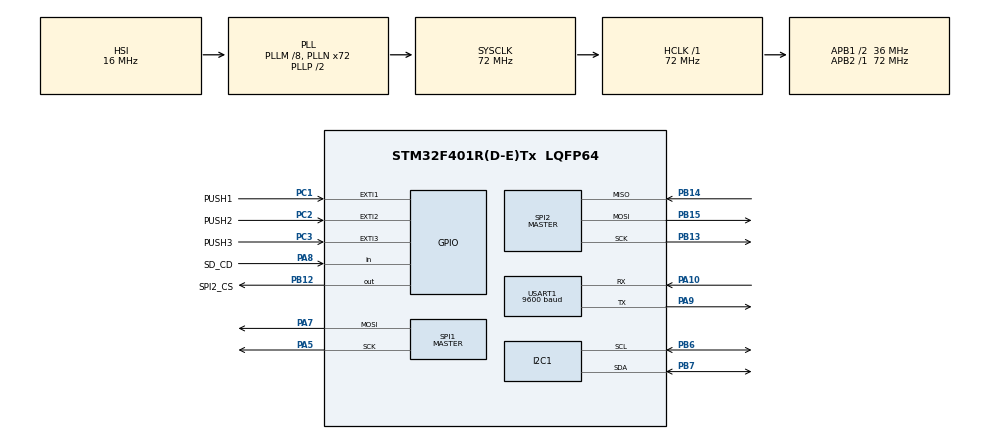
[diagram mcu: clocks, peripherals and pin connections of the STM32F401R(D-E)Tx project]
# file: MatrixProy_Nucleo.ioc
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FREERTOS.Tasks01=defaultTask,0,128,StartDefaultTask,Default,NULL,Dynamic,NULL,NULL
FREERTOS.configUSE_NEWLIB_REENTRANT=1
Mcu.Family=STM32F4
Mcu.Name=STM32F401R(D-E)Tx
Mcu.Package=LQFP64
NVIC.EXTI1_IRQn=true\:5\:0\:false\:false\:true\:true\:true\:true\:true
NVIC.EXTI2_IRQn=true\:5\:0\:false\:false\:true\:true\:true\:true\:true
NVIC.EXTI3_IRQn=true\:5\:0\:false\:false\:true\:true\:true\:true\:true
NVIC.PriorityGroup=NVIC_PRIORITYGROUP_4
NVIC.TIM1_UP_TIM10_IRQn=true\:15\:0\:false\:false\:true\:false\:false\:true\:true
NVIC.TIM2_IRQn=true\:5\:0\:false\:false\:true\:true\:true\:true\:true
NVIC.TIM4_IRQn=true\:5\:0\:true\:false\:true\:true\:true\:true\:true
NVIC.TimeBase=TIM1_UP_TIM10_IRQn
NVIC.TimeBaseIP=TIM1
NVIC.USART1_IRQn=true\:5\:0\:true\:false\:true\:true\:true\:true\:true
PA10.Mode=Asynchronous
PA10.Signal=USART1_RX
PA13.GPIO_Label=TMS
PA13.Mode=Serial_Wire
PA13.Signal=SYS_JTMS-SWDIO
PA14.GPIO_Label=TCK
PA14.Mode=Serial_Wire
PA14.Signal=SYS_JTCK-SWCLK
PA2.GPIO_Label=USART_TX
PA2.GPIO_Mode=GPIO_MODE_AF_PP
PA2.GPIO_PuPd=GPIO_NOPULL
PA2.GPIO_Speed=GPIO_SPEED_FREQ_LOW
PA2.Signal=USART2_TX
PA3.GPIO_Label=USART_RX
PA3.GPIO_Mode=GPIO_MODE_AF_PP
PA3.GPIO_PuPd=GPIO_NOPULL
PA3.GPIO_Speed=GPIO_SPEED_FREQ_LOW
PA3.Signal=USART2_RX
PA5.Mode=TX_Only_Simplex_Unidirect_Master
PA5.Signal=SPI1_SCK
PA7.Mode=TX_Only_Simplex_Unidirect_Master
PA7.Signal=SPI1_MOSI
PA8.GPIO_Label=SD_CD
PA8.Signal=GPIO_Input
PA9.Mode=Asynchronous
PA9.Signal=USART1_TX
PB12.GPIO_Label=SPI2_CS
PB12.Signal=GPIO_Output
PB13.Mode=Full_Duplex_Master
PB13.Signal=SPI2_SCK
PB14.Mode=Full_Duplex_Master
PB14.Signal=SPI2_MISO
PB15.Mode=Full_Duplex_Master
PB15.Signal=SPI2_MOSI
PB3.GPIO_Label=SWO
PB3.Signal=SYS_JTDO-SWO
PB6.Mode=I2C
PB6.Signal=I2C1_SCL
PB7.Mode=I2C
PB7.Signal=I2C1_SDA
PC1.GPIO_Label=PUSH1
PC1.GPIO_PuPd=GPIO_PULLUP
PC1.Signal=GPXTI1
PC14-OSC32_IN.Mode=LSE-External-Oscillator
PC14-OSC32_IN.Signal=RCC_OSC32_IN
PC15-OSC32_OUT.Mode=LSE-External-Oscillator
PC15-OSC32_OUT.Signal=RCC_OSC32_OUT
PC2.GPIO_Label=PUSH2
PC2.GPIO_PuPd=GPIO_PULLUP
PC2.Signal=GPXTI2
PC3.GPIO_Label=PUSH3
PC3.GPIO_PuPd=GPIO_PULLUP
PC3.Signal=GPXTI3
PH0\ -\ OSC_IN.Mode=HSE-External-Clock-Source
PH0\ -\ OSC_IN.Signal=RCC_OSC_IN
PH1\ -\ OSC_OUT.Mode=HSE-External-Clock-Source
PH1\ -\ OSC_OUT.Signal=RCC_OSC_OUT
ProjectManager.HeapSize=0x200
ProjectManager.StackSize=0x400
ProjectManager.TargetToolchain=STM32CubeIDE
RCC.48MHZClocksFreq_Value=20571428.57142857
RCC.AHBFreq_Value=72000000
RCC.APB1CLKDivider=RCC_HCLK_DIV2
RCC.APB1Freq_Value=36000000
RCC.APB1TimFreq_Value=72000000
RCC.APB2Freq_Value=72000000
RCC.APB2TimFreq_Value=72000000
RCC.CortexFreq_Value=72000000
RCC.HCLKFreq_Value=72000000
RCC.HSE_VALUE=8000000
RCC.HSI_VALUE=16000000
RCC.PLLM=8
RCC.PLLN=72
RCC.PLLQ=7
RCC.RCC_RTC_Clock_Source=RCC_RTCCLKSOURCE_LSE
RCC.RCC_RTC_Clock_SourceVirtual=RCC_RTCCLKSOURCE_LSE
RCC.SYSCLKFreq_VALUE=72000000
RCC.SYSCLKSource=RCC_SYSCLKSOURCE_PLLCLK
RCC.VCOOutputFreq_Value=144000000
RTC.Date=10
RTC.Format=RTC_FORMAT_BIN
RTC.Hours=12
RTC.Month=RTC_MONTH_MAY
RTC.WeekDay=RTC_WEEKDAY_TUESDAY
RTC.Year=22
SPI1.BaudRatePrescaler=SPI_BAUDRATEPRESCALER_256
SPI1.Direction=SPI_DIRECTION_2LINES
SPI1.Mode=SPI_MODE_MASTER
SPI1.VirtualType=VM_MASTER
SPI2.BaudRatePrescaler=SPI_BAUDRATEPRESCALER_32
SPI2.Direction=SPI_DIRECTION_2LINES
SPI2.Mode=SPI_MODE_MASTER
SPI2.VirtualType=VM_MASTER
TIM2.Period=1
TIM2.Prescaler=32000-1
TIM2.TIM_MasterOutputTrigger=TIM_TRGO_UPDATE
TIM3.Prescaler=71
USART1.BaudRate=9600
USART1.VirtualMode=VM_ASYNC
VP_FATFS_VS_Generic.Mode=User_defined
VP_FREERTOS_VS_CMSIS_V1.Mode=CMSIS_V1
VP_RTC_VS_RTC_Activate.Mode=RTC_Enabled
VP_RTC_VS_RTC_Calendar.Mode=RTC_Calendar
VP_SYS_VS_tim1.Mode=TIM1
VP_TIM2_VS_ClockSourceINT.Mode=Internal
VP_TIM3_VS_ClockSourceINT.Mode=Internal
VP_TIM4_VS_ClockSourceINT.Mode=Internal
board=NUCLEO-F401RE

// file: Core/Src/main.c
/* USER CODE BEGIN Header */
/**
  ******************************************************************************
  * @file           : main.c
  * @brief          : Main program body
  ******************************************************************************
  * @attention
  *
  * Copyright (c) 2022 STMicroelectronics.
  * All rights reserved.
  *
  * This software is licensed under terms that can be found in the LICENSE file
  * in the root directory of this software component.
  * If no LICENSE file comes with this software, it is provided AS-IS.
  *
  ******************************************************************************
  */
/* USER CODE END Header */
#include "main.h"
#include "cmsis_os.h"
#include "fatfs.h"

/* USER CODE BEGIN PD */
//#define RTC_BKUP_DEFINE_CODE 0xBEBE
/* USER CODE END PD */

 I2C_HandleTypeDef hi2c1;

RTC_HandleTypeDef hrtc;

SPI_HandleTypeDef hspi1;
SPI_HandleTypeDef hspi2;

TIM_HandleTypeDef htim2;
TIM_HandleTypeDef htim3;
TIM_HandleTypeDef htim4;

UART_HandleTypeDef huart1;

osThreadId defaultTaskHandle;
/* USER CODE BEGIN PV */
uint8_t modo;
char mensaje_sd[STR_MAX_SD];
uint32_t timer_msg_sd;

CartelLed_TypeDef Cartel_Led;

xSemaphoreHandle sem_rx;
xSemaphoreHandle sem_push1;
xSemaphoreHandle sem_push2;
xSemaphoreHandle sem_push3;
xSemaphoreHandle sem_rutina_normal;
xSemaphoreHandle sem_rutina_alt;

//uint8_t dataRx[LONG_DATOS_BT];

BH1750_device_t* test_dev;
char MSG[33] = "HOLA!   "; // 33 lenght

uint8_t pulsador_apretado=0;
//uint8_t flag_rutina=0;

/* USER CODE END PV */

void SystemClock_Config(void);
static void MX_GPIO_Init(void);
static void MX_I2C1_Init(void);
static void MX_SPI1_Init(void);
static void MX_TIM4_Init(void);
static void MX_RTC_Init(void);
static void MX_USART1_UART_Init(void);
static void MX_TIM3_Init(void);
static void MX_SPI2_Init(void);
static void MX_TIM2_Init(void);
void StartDefaultTask(void const * argument);

/* USER CODE BEGIN 0 */

/*
void incializar_tareas (void);
void inicializar_perifericos(void);
*/

/* USER CODE END 0 */

int main(void)
{

  /* MCU Configuration--------------------------------------------------------*/

  /* Reset of all peripherals, Initializes the Flash interface and the Systick. */
  HAL_Init();

  /* Configure the system clock */
  SystemClock_Config();

  /* Initialize all configured peripherals */
  MX_GPIO_Init();
  MX_I2C1_Init();
  MX_SPI1_Init();
  MX_TIM4_Init();
  MX_RTC_Init();
  MX_USART1_UART_Init();
  MX_TIM3_Init();
  MX_SPI2_Init();
  MX_FATFS_Init();
  MX_TIM2_Init();
  /* USER CODE BEGIN 2 */
  //HAL_TIM_Base_Start(&htim3);
  inicializar_perifericos();
  inicializar_tareas();

  /* USER CODE END 2 */

  /* Create the thread(s) */
  /* definition and creation of defaultTask */
  osThreadDef(defaultTask, StartDefaultTask, osPriorityNormal, 0, 128);
  defaultTaskHandle = osThreadCreate(osThread(defaultTask), NULL);

  /* Start scheduler */
  osKernelStart();

  /* We should never get here as control is now taken by the scheduler */
  /* Infinite loop */
  while (1)
  {

  }
}

void SystemClock_Config(void)
{
  RCC_OscInitTypeDef RCC_OscInitStruct = {0};
  RCC_ClkInitTypeDef RCC_ClkInitStruct = {0};

  /** Configure the main internal regulator output voltage
  */
  __HAL_RCC_PWR_CLK_ENABLE();
  __HAL_PWR_VOLTAGESCALING_CONFIG(PWR_REGULATOR_VOLTAGE_SCALE2);

  /** Initializes the RCC Oscillators according to the specified parameters
  * in the RCC_OscInitTypeDef structure.
  */
  RCC_OscInitStruct.OscillatorType = RCC_OSCILLATORTYPE_HSI|RCC_OSCILLATORTYPE_LSE;
  RCC_OscInitStruct.LSEState = RCC_LSE_ON;
  RCC_OscInitStruct.HSIState = RCC_HSI_ON;
  RCC_OscInitStruct.HSICalibrationValue = RCC_HSICALIBRATION_DEFAULT;
  RCC_OscInitStruct.PLL.PLLState = RCC_PLL_ON;
  RCC_OscInitStruct.PLL.PLLSource = RCC_PLLSOURCE_HSI;
  RCC_OscInitStruct.PLL.PLLM = 8;
  RCC_OscInitStruct.PLL.PLLN = 72;
  RCC_OscInitStruct.PLL.PLLP = RCC_PLLP_DIV2;
  RCC_OscInitStruct.PLL.PLLQ = 7;
  if (HAL_RCC_OscConfig(&RCC_OscInitStruct) != HAL_OK)
  {
    Error_Handler();
  }

  /** Initializes the CPU, AHB and APB buses clocks
  */
  RCC_ClkInitStruct.ClockType = RCC_CLOCKTYPE_HCLK|RCC_CLOCKTYPE_SYSCLK
                              |RCC_CLOCKTYPE_PCLK1|RCC_CLOCKTYPE_PCLK2;
  RCC_ClkInitStruct.SYSCLKSource = RCC_SYSCLKSOURCE_PLLCLK;
  RCC_ClkInitStruct.AHBCLKDivider = RCC_SYSCLK_DIV1;
  RCC_ClkInitStruct.APB1CLKDivider = RCC_HCLK_DIV2;
  RCC_ClkInitStruct.APB2CLKDivider = RCC_HCLK_DIV1;

  if (HAL_RCC_ClockConfig(&RCC_ClkInitStruct, FLASH_LATENCY_2) != HAL_OK)
  {
    Error_Handler();
  }
}

static void MX_I2C1_Init(void)
{

  hi2c1.Instance = I2C1;
  hi2c1.Init.ClockSpeed = 100000;
  hi2c1.Init.DutyCycle = I2C_DUTYCYCLE_2;
  hi2c1.Init.OwnAddress1 = 0;
  hi2c1.Init.AddressingMode = I2C_ADDRESSINGMODE_7BIT;
  hi2c1.Init.DualAddressMode = I2C_DUALADDRESS_DISABLE;
  hi2c1.Init.OwnAddress2 = 0;
  hi2c1.Init.GeneralCallMode = I2C_GENERALCALL_DISABLE;
  hi2c1.Init.NoStretchMode = I2C_NOSTRETCH_DISABLE;
  if (HAL_I2C_Init(&hi2c1) != HAL_OK)
  {
    Error_Handler();
  }

}

static void MX_RTC_Init(void)
{

  RTC_TimeTypeDef sTime = {0};
  RTC_DateTypeDef sDate = {0};

  /** Initialize RTC Only
  */
  hrtc.Instance = RTC;
  hrtc.Init.HourFormat = RTC_HOURFORMAT_24;
  hrtc.Init.AsynchPrediv = 127;
  hrtc.Init.SynchPrediv = 255;
  hrtc.Init.OutPut = RTC_OUTPUT_DISABLE;
  hrtc.Init.OutPutPolarity = RTC_OUTPUT_POLARITY_HIGH;
  hrtc.Init.OutPutType = RTC_OUTPUT_TYPE_OPENDRAIN;
  if (HAL_RTC_Init(&hrtc) != HAL_OK)
  {
    Error_Handler();
  }

  /* USER CODE BEGIN Check_RTC_BKUP */

  if (HAL_RTCEx_BKUPRead(&hrtc, RTC_BKP_DR0) != RTC_BKUP_DEFINE_CODE)
    {
      // Clear Backup registor : recover to current RTC information

      // Set to Time/Date from current Time/Date
	  sTime.Hours = 12;
	    sTime.Minutes = 0;
	    sTime.Seconds = 0;
	    sTime.DayLightSaving = RTC_DAYLIGHTSAVING_NONE;
	    sTime.StoreOperation = RTC_STOREOPERATION_RESET;
	    if (HAL_RTC_SetTime(&hrtc, &sTime, RTC_FORMAT_BIN) != HAL_OK)
	    {
	      Error_Handler();
	    }
	    sDate.WeekDay = RTC_WEEKDAY_TUESDAY;
	    sDate.Month = RTC_MONTH_MAY;
	    sDate.Date = 10;
	    sDate.Year = 22;

	    if (HAL_RTC_SetDate(&hrtc, &sDate, RTC_FORMAT_BIN) != HAL_OK)
	    {
	      Error_Handler();
	    }
      // Write a data in ad RTC Backup data register
      HAL_RTCEx_BKUPWrite(&hrtc, RTC_BKP_DR0, RTC_BKUP_DEFINE_CODE);
    }
  else
    {
      // Only read time and date
      HAL_RTC_GetTime(&hrtc, &sTime, RTC_FORMAT_BIN);
      HAL_RTC_GetDate(&hrtc, &sDate, RTC_FORMAT_BIN);

    }
  //HAL_RTCEx_BKUPWrite(&hrtc, RTC_BKP_DR0, RTC_BKUP_DEFINE_CODE);
  /* USER CODE END Check_RTC_BKUP */

  /** Initialize RTC and set the Time and Date
  */
//  sTime.Hours = 12;
//  sTime.Minutes = 0;
//  sTime.Seconds = 0;
//  sTime.DayLightSaving = RTC_DAYLIGHTSAVING_NONE;
//  sTime.StoreOperation = RTC_STOREOPERATION_RESET;
//  if (HAL_RTC_SetTime(&hrtc, &sTime, RTC_FORMAT_BIN) != HAL_OK)
//  {
//    Error_Handler();
//  }
//  sDate.WeekDay = RTC_WEEKDAY_TUESDAY;
//  sDate.Month = RTC_MONTH_MAY;
//  sDate.Date = 10;
//  sDate.Year = 22;
//
//  if (HAL_RTC_SetDate(&hrtc, &sDate, RTC_FORMAT_BIN) != HAL_OK)
//  {
//    Error_Handler();
//  }

}

static void MX_SPI1_Init(void)
{

  /* SPI1 parameter configuration*/
  hspi1.Instance = SPI1;
  hspi1.Init.Mode = SPI_MODE_MASTER;
  hspi1.Init.Direction = SPI_DIRECTION_2LINES;
  hspi1.Init.DataSize = SPI_DATASIZE_8BIT;
  hspi1.Init.CLKPolarity = SPI_POLARITY_LOW;
  hspi1.Init.CLKPhase = SPI_PHASE_1EDGE;
  hspi1.Init.NSS = SPI_NSS_SOFT;
  hspi1.Init.BaudRatePrescaler = SPI_BAUDRATEPRESCALER_256;
  hspi1.Init.FirstBit = SPI_FIRSTBIT_MSB;
  hspi1.Init.TIMode = SPI_TIMODE_DISABLE;
  hspi1.Init.CRCCalculation = SPI_CRCCALCULATION_DISABLE;
  hspi1.Init.CRCPolynomial = 10;
  if (HAL_SPI_Init(&hspi1) != HAL_OK)
  {
    Error_Handler();
  }

}

static void MX_SPI2_Init(void)
{

  /* SPI2 parameter configuration*/
  hspi2.Instance = SPI2;
  hspi2.Init.Mode = SPI_MODE_MASTER;
  hspi2.Init.Direction = SPI_DIRECTION_2LINES;
  hspi2.Init.DataSize = SPI_DATASIZE_8BIT;
  hspi2.Init.CLKPolarity = SPI_POLARITY_LOW;
  hspi2.Init.CLKPhase = SPI_PHASE_1EDGE;
  hspi2.Init.NSS = SPI_NSS_SOFT;
  hspi2.Init.BaudRatePrescaler = SPI_BAUDRATEPRESCALER_32;
  hspi2.Init.FirstBit = SPI_FIRSTBIT_MSB;
  hspi2.Init.TIMode = SPI_TIMODE_DISABLE;
  hspi2.Init.CRCCalculation = SPI_CRCCALCULATION_DISABLE;
  hspi2.Init.CRCPolynomial = 10;
  if (HAL_SPI_Init(&hspi2) != HAL_OK)
  {
    Error_Handler();
  }

}

static void MX_TIM2_Init(void)
{

  TIM_ClockConfigTypeDef sClockSourceConfig = {0};
  TIM_MasterConfigTypeDef sMasterConfig = {0};

  htim2.Instance = TIM2;
  htim2.Init.Prescaler = 32000-1;
  htim2.Init.CounterMode = TIM_COUNTERMODE_UP;
  htim2.Init.Period = 1;
  htim2.Init.ClockDivision = TIM_CLOCKDIVISION_DIV1;
  htim2.Init.AutoReloadPreload = TIM_AUTORELOAD_PRELOAD_DISABLE;
  if (HAL_TIM_Base_Init(&htim2) != HAL_OK)
  {
    Error_Handler();
  }
  sClockSourceConfig.ClockSource = TIM_CLOCKSOURCE_INTERNAL;
  if (HAL_TIM_ConfigClockSource(&htim2, &sClockSourceConfig) != HAL_OK)
  {
    Error_Handler();
  }
  sMasterConfig.MasterOutputTrigger = TIM_TRGO_UPDATE;
  sMasterConfig.MasterSlaveMode = TIM_MASTERSLAVEMODE_DISABLE;
  if (HAL_TIMEx_MasterConfigSynchronization(&htim2, &sMasterConfig) != HAL_OK)
  {
    Error_Handler();
  }

}

static void MX_TIM3_Init(void)
{

  TIM_ClockConfigTypeDef sClockSourceConfig = {0};
  TIM_MasterConfigTypeDef sMasterConfig = {0};

  htim3.Instance = TIM3;
  htim3.Init.Prescaler = 71;
  htim3.Init.CounterMode = TIM_COUNTERMODE_UP;
  htim3.Init.Period = 65535;
  htim3.Init.ClockDivision = TIM_CLOCKDIVISION_DIV1;
  htim3.Init.AutoReloadPreload = TIM_AUTORELOAD_PRELOAD_DISABLE;
  if (HAL_TIM_Base_Init(&htim3) != HAL_OK)
  {
    Error_Handler();
  }
  sClockSourceConfig.ClockSource = TIM_CLOCKSOURCE_INTERNAL;
  if (HAL_TIM_ConfigClockSource(&htim3, &sClockSourceConfig) != HAL_OK)
  {
    Error_Handler();
  }
  sMasterConfig.MasterOutputTrigger = TIM_TRGO_RESET;
  sMasterConfig.MasterSlaveMode = TIM_MASTERSLAVEMODE_DISABLE;
  if (HAL_TIMEx_MasterConfigSynchronization(&htim3, &sMasterConfig) != HAL_OK)
  {
    Error_Handler();
  }

}

static void MX_TIM4_Init(void)
{

  TIM_ClockConfigTypeDef sClockSourceConfig = {0};
  TIM_MasterConfigTypeDef sMasterConfig = {0};

  htim4.Instance = TIM4;
  htim4.Init.Prescaler = 0;
  htim4.Init.CounterMode = TIM_COUNTERMODE_UP;
  htim4.Init.Period = 65535;
  htim4.Init.ClockDivision = TIM_CLOCKDIVISION_DIV1;
  htim4.Init.AutoReloadPreload = TIM_AUTORELOAD_PRELOAD_DISABLE;
  if (HAL_TIM_Base_Init(&htim4) != HAL_OK)
  {
    Error_Handler();
  }
  sClockSourceConfig.ClockSource = TIM_CLOCKSOURCE_INTERNAL;
  if (HAL_TIM_ConfigClockSource(&htim4, &sClockSourceConfig) != HAL_OK)
  {
    Error_Handler();
  }
  sMasterConfig.MasterOutputTrigger = TIM_TRGO_RESET;
  sMasterConfig.MasterSlaveMode = TIM_MASTERSLAVEMODE_DISABLE;
  if (HAL_TIMEx_MasterConfigSynchronization(&htim4, &sMasterConfig) != HAL_OK)
  {
    Error_Handler();
  }

}

static void MX_USART1_UART_Init(void)
{

  huart1.Instance = USART1;
  huart1.Init.BaudRate = 9600;
  huart1.Init.WordLength = UART_WORDLENGTH_8B;
  huart1.Init.StopBits = UART_STOPBITS_1;
  huart1.Init.Parity = UART_PARITY_NONE;
  huart1.Init.Mode = UART_MODE_TX_RX;
  huart1.Init.HwFlowCtl = UART_HWCONTROL_NONE;
  huart1.Init.OverSampling = UART_OVERSAMPLING_16;
  if (HAL_UART_Init(&huart1) != HAL_OK)
  {
    Error_Handler();
  }

}

static void MX_GPIO_Init(void)
{
  GPIO_InitTypeDef GPIO_InitStruct = {0};

  /* GPIO Ports Clock Enable */
  __HAL_RCC_GPIOC_CLK_ENABLE();
  __HAL_RCC_GPIOH_CLK_ENABLE();
  __HAL_RCC_GPIOA_CLK_ENABLE();
  __HAL_RCC_GPIOB_CLK_ENABLE();

  /*Configure GPIO pin Output Level */
  HAL_GPIO_WritePin(SPI2_CS_GPIO_Port, SPI2_CS_Pin, GPIO_PIN_RESET);

  /*Configure GPIO pins : PUSH1_Pin PUSH2_Pin PUSH3_Pin */
  GPIO_InitStruct.Pin = PUSH1_Pin|PUSH2_Pin|PUSH3_Pin;
  GPIO_InitStruct.Mode = GPIO_MODE_IT_RISING;
  GPIO_InitStruct.Pull = GPIO_PULLUP;
  HAL_GPIO_Init(GPIOC, &GPIO_InitStruct);

  /*Configure GPIO pins : USART_TX_Pin USART_RX_Pin */
  GPIO_InitStruct.Pin = USART_TX_Pin|USART_RX_Pin;
  GPIO_InitStruct.Mode = GPIO_MODE_AF_PP;
  GPIO_InitStruct.Pull = GPIO_NOPULL;
  GPIO_InitStruct.Speed = GPIO_SPEED_FREQ_LOW;
  GPIO_InitStruct.Alternate = GPIO_AF7_USART2;
  HAL_GPIO_Init(GPIOA, &GPIO_InitStruct);

  /*Configure GPIO pin : SPI2_CS_Pin */
  GPIO_InitStruct.Pin = SPI2_CS_Pin;
  GPIO_InitStruct.Mode = GPIO_MODE_OUTPUT_PP;
  GPIO_InitStruct.Pull = GPIO_NOPULL;
  GPIO_InitStruct.Speed = GPIO_SPEED_FREQ_LOW;
  HAL_GPIO_Init(SPI2_CS_GPIO_Port, &GPIO_InitStruct);

  /*Configure GPIO pin : SD_CD_Pin */
  GPIO_InitStruct.Pin = SD_CD_Pin;
  GPIO_InitStruct.Mode = GPIO_MODE_INPUT;
  GPIO_InitStruct.Pull = GPIO_NOPULL;
  HAL_GPIO_Init(SD_CD_GPIO_Port, &GPIO_InitStruct);

  /* EXTI interrupt init*/
  HAL_NVIC_SetPriority(EXTI1_IRQn, 5, 0);
  HAL_NVIC_EnableIRQ(EXTI1_IRQn);

  HAL_NVIC_SetPriority(EXTI2_IRQn, 5, 0);
  HAL_NVIC_EnableIRQ(EXTI2_IRQn);

  HAL_NVIC_SetPriority(EXTI3_IRQn, 5, 0);
  HAL_NVIC_EnableIRQ(EXTI3_IRQn);

}

/* USER CODE BEGIN 4 */

void HAL_GPIO_EXTI_Callback(uint16_t GPIO_Pin)
{
	BaseType_t p;

	if(GPIO_Pin==PUSH1_Pin)
	{
		HAL_Delay(5);
		while(HAL_GPIO_ReadPin(PUSH1_GPIO_Port, GPIO_Pin)==0);
		HAL_Delay(5);
		pulsador_apretado=1;
		xSemaphoreGiveFromISR(sem_push1,&p);
		portEND_SWITCHING_ISR(p);
	}

	else if(GPIO_Pin==PUSH2_Pin)
	{
		HAL_Delay(5);
		while(HAL_GPIO_ReadPin(PUSH2_GPIO_Port, GPIO_Pin)==0);
		HAL_Delay(5);
		pulsador_apretado=2;
		xSemaphoreGiveFromISR(sem_push2,&p);
		portEND_SWITCHING_ISR(p);
	}

	else if(GPIO_Pin==PUSH3_Pin)
	{
		HAL_Delay(5);
		while(HAL_GPIO_ReadPin(PUSH2_GPIO_Port, GPIO_Pin)==0);
		HAL_Delay(5);
		pulsador_apretado=3;
		xSemaphoreGiveFromISR(sem_push3,&p);
		portEND_SWITCHING_ISR(p);
	}

	//xSemaphoreGiveFromISR(sem_push,&p);
	//portEND_SWITCHING_ISR(p);
}

/* USER CODE END 4 */

void StartDefaultTask(void const * argument)
{
  for(;;)
  {
    osDelay(1);
  }
}

void HAL_TIM_PeriodElapsedCallback(TIM_HandleTypeDef *htim)
{
  if (htim->Instance == TIM1) {
    HAL_IncTick();
  }
  /* USER CODE BEGIN Callback 1 */
  if (htim->Instance == TIM4) {
    MATRIX_TMR_OVF_ISR(htim);
  }
  /* USER CODE END Callback 1 */
}

void Error_Handler(void)
{
  __disable_irq();
  while (1)
  {
  }
}
